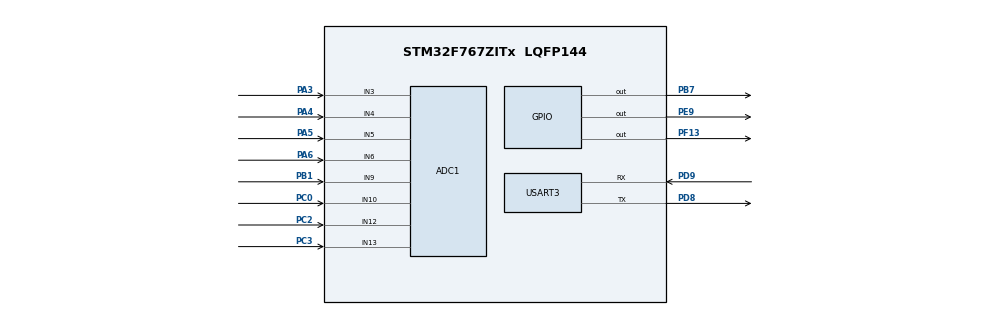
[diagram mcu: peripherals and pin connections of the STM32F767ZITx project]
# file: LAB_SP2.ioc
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ADC1.Channel-10\#ChannelRegularConversion=ADC_CHANNEL_13
ADC1.Channel-3\#ChannelRegularConversion=ADC_CHANNEL_3
ADC1.Channel-4\#ChannelRegularConversion=ADC_CHANNEL_4
ADC1.Channel-5\#ChannelRegularConversion=ADC_CHANNEL_5
ADC1.Channel-6\#ChannelRegularConversion=ADC_CHANNEL_6
ADC1.Channel-7\#ChannelRegularConversion=ADC_CHANNEL_9
ADC1.Channel-8\#ChannelRegularConversion=ADC_CHANNEL_10
ADC1.Channel-9\#ChannelRegularConversion=ADC_CHANNEL_12
ADC1.ClockPrescaler=ADC_CLOCK_SYNC_PCLK_DIV8
ADC1.ContinuousConvMode=ENABLE
ADC1.DMAContinuousRequests=ENABLE
ADC1.NbrOfConversion=8
ADC1.NbrOfConversionFlag=1
ADC1.Rank-10\#ChannelRegularConversion=8
ADC1.Rank-3\#ChannelRegularConversion=1
ADC1.Rank-4\#ChannelRegularConversion=2
ADC1.Rank-5\#ChannelRegularConversion=3
ADC1.Rank-6\#ChannelRegularConversion=4
ADC1.Rank-7\#ChannelRegularConversion=5
ADC1.Rank-8\#ChannelRegularConversion=6
ADC1.Rank-9\#ChannelRegularConversion=7
ADC1.SamplingTime-10\#ChannelRegularConversion=ADC_SAMPLETIME_15CYCLES
ADC1.SamplingTime-3\#ChannelRegularConversion=ADC_SAMPLETIME_15CYCLES
ADC1.SamplingTime-4\#ChannelRegularConversion=ADC_SAMPLETIME_15CYCLES
ADC1.SamplingTime-5\#ChannelRegularConversion=ADC_SAMPLETIME_15CYCLES
ADC1.SamplingTime-6\#ChannelRegularConversion=ADC_SAMPLETIME_15CYCLES
ADC1.SamplingTime-7\#ChannelRegularConversion=ADC_SAMPLETIME_15CYCLES
ADC1.SamplingTime-8\#ChannelRegularConversion=ADC_SAMPLETIME_15CYCLES
ADC1.SamplingTime-9\#ChannelRegularConversion=ADC_SAMPLETIME_15CYCLES
ADC1.ScanConvMode=ADC_SCAN_ENABLE
ADC1.master=1
Dma.ADC1.0.Direction=DMA_PERIPH_TO_MEMORY
Dma.ADC1.0.FIFOMode=DMA_FIFOMODE_DISABLE
Dma.ADC1.0.Instance=DMA2_Stream0
Dma.ADC1.0.MemDataAlignment=DMA_MDATAALIGN_WORD
Dma.ADC1.0.MemInc=DMA_MINC_ENABLE
Dma.ADC1.0.Mode=DMA_CIRCULAR
Dma.ADC1.0.PeriphDataAlignment=DMA_PDATAALIGN_WORD
Dma.ADC1.0.PeriphInc=DMA_PINC_DISABLE
Dma.ADC1.0.Priority=DMA_PRIORITY_LOW
Dma.Request0=ADC1
Mcu.Family=STM32F7
Mcu.Name=STM32F767ZITx
Mcu.Package=LQFP144
NVIC.DMA2_Stream0_IRQn=true\:1\:0\:true\:false\:true\:false\:true\:true
NVIC.PriorityGroup=NVIC_PRIORITYGROUP_2
PA3.Signal=ADCx_IN3
PA4.Signal=ADCx_IN4
PA5.Signal=ADCx_IN5
PA6.Signal=ADCx_IN6
PB1.Signal=ADCx_IN9
PB7.Signal=GPIO_Output
PC0.Signal=ADCx_IN10
PC2.Signal=ADCx_IN12
PC3.Signal=ADCx_IN13
PD8.Mode=Asynchronous
PD8.Signal=USART3_TX
PD9.Mode=Asynchronous
PD9.Signal=USART3_RX
PE9.Signal=GPIO_Output
PF13.Signal=GPIO_Output
ProjectManager.HeapSize=0x200
ProjectManager.StackSize=0x400
ProjectManager.TargetToolchain=STM32CubeIDE
RCC.HSE_VALUE=25000000
RCC.HSI_VALUE=16000000
RCC.LSE_VALUE=32768
RCC.USBFreq_Value=96000000
RCC.VCOOutputFreq_Value=192000000
SH.ADCx_IN10.0=ADC1_IN10,IN10
SH.ADCx_IN12.0=ADC1_IN12,IN12
SH.ADCx_IN13.0=ADC1_IN13,IN13
SH.ADCx_IN3.0=ADC1_IN3,IN3
SH.ADCx_IN4.0=ADC1_IN4,IN4
SH.ADCx_IN5.0=ADC1_IN5,IN5
SH.ADCx_IN6.0=ADC1_IN6,IN6
SH.ADCx_IN9.0=ADC1_IN9,IN9
USART3.VirtualMode-Asynchronous=VM_ASYNC
board=custom

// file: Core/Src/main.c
/* USER CODE BEGIN Header */
/**
  ******************************************************************************
  * @file           : main.c
  * @brief          : Main program body
  ******************************************************************************
  * @attention
  *
  * Copyright (c) 2023 STMicroelectronics.
  * All rights reserved.
  *
  * This software is licensed under terms that can be found in the LICENSE file
  * in the root directory of this software component.
  * If no LICENSE file comes with this software, it is provided AS-IS.
  *
  ******************************************************************************
  */
/* USER CODE END Header */
#include "main.h"
#include "adc.h"
#include "dma.h"
#include "usart.h"
#include "gpio.h"

/* USER CODE BEGIN Includes */
#include "string.h"
#include "stdio.h"
/* USER CODE END Includes */

/* USER CODE BEGIN PM */
#define print(x) HAL_UART_Transmit(&huart3, (uint8_t*)x, strlen(x), 1000)
/* USER CODE END PM */

/* USER CODE BEGIN PV */
uint32_t adc_val[8];
/* USER CODE END PV */

void SystemClock_Config(void);

/* USER CODE BEGIN 0 */
void HAL_ADC_ConvHalfCpltCallback(ADC_HandleTypeDef* hadc)
{
	HAL_GPIO_WritePin(GPIOB,GPIO_PIN_7,GPIO_PIN_SET);
	for(int i = 0; i<=7; i++)
	{
		displayBaseDecimal(adc_val[i]);
		print("\r\n");

	}
	print("\r\n");
	HAL_Delay(400);
}

void HAL_ADC_ConvCpltCallback(ADC_HandleTypeDef* hadc)
{
	HAL_GPIO_WritePin(GPIOB,GPIO_PIN_7,GPIO_PIN_RESET);
	for(int i = 0; i<=7; i++)
	{
		displayBaseDecimal(adc_val[i]);
		print("\r\n");
	}
	print("\r\n");
	HAL_Delay(400);
}

void displayBaseDecimal(uint32_t myNumber){
	char toDecimal[15];
	sprintf(toDecimal,"%d",myNumber);
	print(toDecimal);
};
/* USER CODE END 0 */

int main(void)
{

  /* MCU Configuration--------------------------------------------------------*/

  /* Reset of all peripherals, Initializes the Flash interface and the Systick. */
  HAL_Init();

  /* Configure the system clock */
  SystemClock_Config();

  /* Initialize all configured peripherals */
  MX_GPIO_Init();
  MX_DMA_Init();
  MX_ADC1_Init();
  MX_USART3_UART_Init();
  /* USER CODE BEGIN 2 */
  HAL_ADC_Start_DMA(&hadc1, (uint32_t *)adc_val, 8);

  /* USER CODE END 2 */

  /* Infinite loop */
  while (1)
  {

  }
}

void SystemClock_Config(void)
{
  RCC_OscInitTypeDef RCC_OscInitStruct = {0};
  RCC_ClkInitTypeDef RCC_ClkInitStruct = {0};

  /** Configure the main internal regulator output voltage
  */
  __HAL_RCC_PWR_CLK_ENABLE();
  __HAL_PWR_VOLTAGESCALING_CONFIG(PWR_REGULATOR_VOLTAGE_SCALE3);

  /** Initializes the RCC Oscillators according to the specified parameters
  * in the RCC_OscInitTypeDef structure.
  */
  RCC_OscInitStruct.OscillatorType = RCC_OSCILLATORTYPE_HSI;
  RCC_OscInitStruct.HSIState = RCC_HSI_ON;
  RCC_OscInitStruct.HSICalibrationValue = RCC_HSICALIBRATION_DEFAULT;
  RCC_OscInitStruct.PLL.PLLState = RCC_PLL_NONE;
  if (HAL_RCC_OscConfig(&RCC_OscInitStruct) != HAL_OK)
  {
    Error_Handler();
  }

  /** Initializes the CPU, AHB and APB buses clocks
  */
  RCC_ClkInitStruct.ClockType = RCC_CLOCKTYPE_HCLK|RCC_CLOCKTYPE_SYSCLK
                              |RCC_CLOCKTYPE_PCLK1|RCC_CLOCKTYPE_PCLK2;
  RCC_ClkInitStruct.SYSCLKSource = RCC_SYSCLKSOURCE_HSI;
  RCC_ClkInitStruct.AHBCLKDivider = RCC_SYSCLK_DIV1;
  RCC_ClkInitStruct.APB1CLKDivider = RCC_HCLK_DIV1;
  RCC_ClkInitStruct.APB2CLKDivider = RCC_HCLK_DIV1;

  if (HAL_RCC_ClockConfig(&RCC_ClkInitStruct, FLASH_LATENCY_0) != HAL_OK)
  {
    Error_Handler();
  }
}

void Error_Handler(void)
{
  __disable_irq();
  while (1)
  {
  }
}
